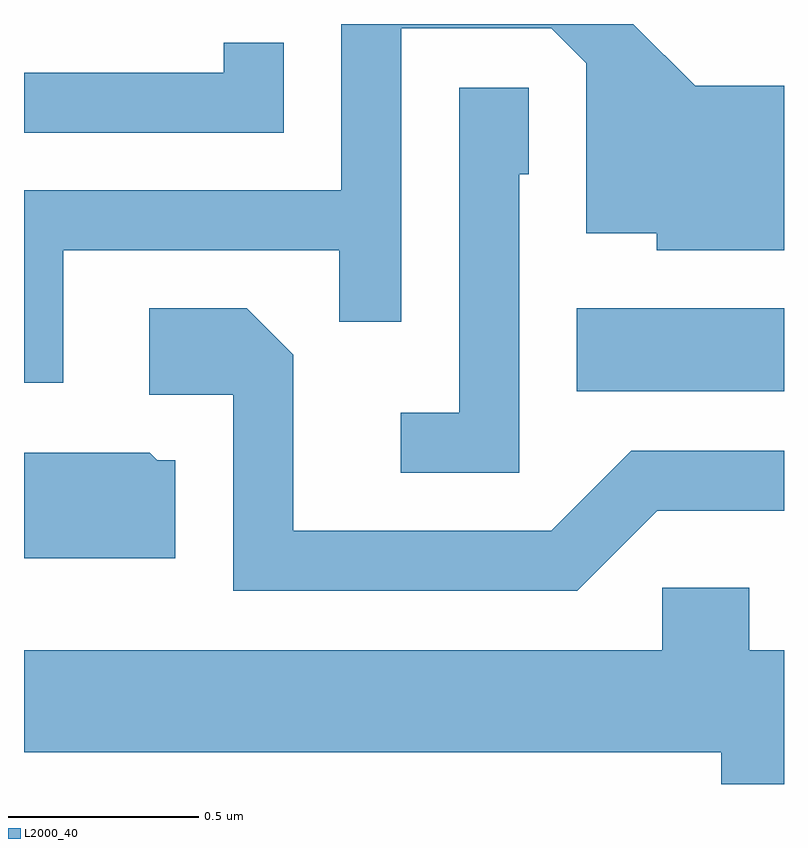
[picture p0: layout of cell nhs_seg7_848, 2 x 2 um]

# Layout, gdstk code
import gdstk
lib = gdstk.Library(unit=1e-6, precision=1e-09)
def R(c, l, rs):  # rectangles x0, y0, x1, y1
    for r in rs: c.add(gdstk.rectangle(r[:2], r[2:], *l))
def P(c, l, *ps):  # polygons
    for p in ps: c.add(gdstk.Polygon(p, *l))
L2000_40 = (2000, 40)

nhs_seg7_848 = lib.new_cell('nhs_seg7_848')
R(nhs_seg7_848, L2000_40, [(193.066,1695.286,193.611,1695.504)])
P(nhs_seg7_848, L2000_40, [(191.714,1695.656),(192.441,1695.656),(192.441,1695.468),(192.604,1695.468),(192.604,1696.241),(192.999,1696.241),(193.091,1696.149),(193.091,1695.701),(193.276,1695.701),(193.276,1695.656),(193.611,1695.656),(193.611,1696.089),(193.377,1696.089),(193.214,1696.252),(192.446,1696.252),(192.446,1695.814),(191.611,1695.814),(191.611,1695.308),(191.714,1695.308)],
  [(192.294,1696.203),(192.136,1696.203),(192.136,1696.124),(191.611,1696.124),(191.611,1695.966),(192.294,1695.966)],
  [(192.914,1695.856),(192.939,1695.856),(192.939,1696.084),(192.756,1696.084),(192.756,1695.229),(192.603,1695.229),(192.603,1695.071),(192.914,1695.071)],
  [(193.277,1694.971),(193.611,1694.971),(193.611,1695.129),(193.209,1695.129),(192.999,1694.919),(192.319,1694.919),(192.319,1695.382),(192.197,1695.504),(191.941,1695.504),(191.941,1695.276),(192.161,1695.276),(192.161,1694.761),(193.067,1694.761)],
  [(192.009,1695.104),(191.962,1695.104),(191.942,1695.124),(191.611,1695.124),(191.611,1694.846),(192.009,1694.846)],
  [(193.611,1694.604),(193.519,1694.604),(193.519,1694.769),(193.291,1694.769),(193.291,1694.604),(191.611,1694.604),(191.611,1694.336),(193.446,1694.336),(193.446,1694.252),(193.611,1694.252)])

lib.write_gds('nhs_seg7_848.gds')
